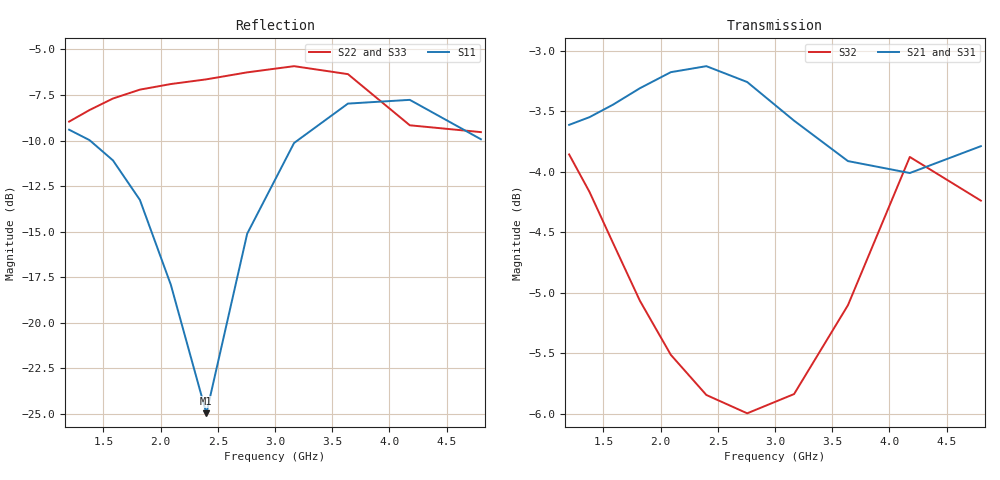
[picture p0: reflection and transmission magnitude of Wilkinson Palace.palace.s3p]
! Generated by circuitRF - EM: Palace
! circuitRF-EM setup: Wilkinson Palace
! circuitRF-EM layout: Wilkinson.c3d
! circuitRF-EM written: 2026-11-15 21:44:44Z
! circuitRF-EM stamp: 20261115T214444Z-f19fa5af
! circuitRF-EM geometry: d3dc385797ce25ec
! circuitRF-EM mesh settings: a7694d155dadb9d5
! circuitRF-EM ports: f234bb7d2ddfce0d
! circuitRF-EM model: Palace 0.18.1 (0dc74cd, schema 1-7-0)
! Port[1] = P1
! Port[2] = P2
! Port[3] = P3
! circuitRF-EM port 1: 'port/1' from 'U1/Bottom Copper (1 oz)/1' to 'U1/Top Copper (1 oz)/1', lumped, 50 Ohm
! circuitRF-EM port 2: 'port/2' from 'U1/Bottom Copper (1 oz)/1' to 'U1/Top Copper (1 oz)/1', lumped, 50 Ohm
! circuitRF-EM port 3: 'port/3' from 'U1/Bottom Copper (1 oz)/1' to 'U1/Top Copper (1 oz)/1', lumped, 50 Ohm
! Port 1 = P01  P1  net=?  ref=U1/Bottom Copper (1 oz)/1  uncalibrated
! Port 2 = P02  P2  net=?  ref=U1/Bottom Copper (1 oz)/1  uncalibrated
! Port 3 = P03  P3  net=?  ref=U1/Bottom Copper (1 oz)/1  uncalibrated
! DC: none, the lowest row is 1.2 GHz; a circuit's DC solve through this file takes that row as DC
! circuitRF-EM 3D mesh: 54,807 elements initially, 54,807 finally, 0 adaptive pass(es), element order 1
! circuitRF-EM 3D operating temperature: 20 C
! circuitRF-EM 3D run: preset Draft; 54807 -> 54807 tetrahedra; 72034 unknowns; 0 refinement pass(es); 4 frequency sample(s)
! circuitRF-EM 3D run cost: wall 77 s; Palace peak memory 2.0 GB
! circuitRF-EM: re-running the EM setup rewrites this file. If circuitRF reports it as stale, the layout's cross-section changed after this file was written.
# GHz S RI R 50
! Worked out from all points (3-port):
!   11 points, 1.2 GHz to 4.8 GHz, reference 50 ohm
!   strongest paths, dB at 1.2 GHz, 1.583 GHz, 2.4 GHz, 3.638 GHz, 4.8 GHz:
!     S21: -3.6, -3.4, -3.1, -3.9, -3.8
!     S31: -3.6, -3.5, -3.2, -4.0, -3.7
!     S32: -3.9, -4.6, -5.8, -5.1, -4.2
!   lowest |S11| = -25.0 dB at 2.4 GHz (marker M1), VSWR 1.12, Z = 44.9 + j1.74 ohm
!   |S11| at or under -10 dB: 1.383 GHz to 3.196 GHz (1.813 GHz wide, 79.2 % of centre)
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1.2  -0.2622 0.2144  -0.0373 -0.6586  -0.0389 -0.6565
     -0.0373 -0.6586  0.348 -0.0769  -0.6325 -0.1062
     -0.0389 -0.6565  -0.6325 -0.1062  0.3515 -0.0782
1.583409  -0.1449 0.2383  -0.3658 -0.5643  -0.365 -0.5605
          -0.3658 -0.5643  0.1322 -0.3907  -0.4092 0.4245
          -0.365 -0.5605  -0.4092 0.4245  0.1351 -0.396
1.81886  -0.0732 0.2046  -0.5363 -0.4231  -0.5332 -0.4196
         -0.5363 -0.4231  -0.0727 -0.4302  -0.1111 0.5468
         -0.5332 -0.4196  -0.1111 0.5468  -0.0722 -0.4376
2.089321  -0.0266 0.1243  -0.6664 -0.1922  -0.661 -0.1908
          -0.6664 -0.1922  -0.2651 -0.366  0.2169 0.4836
          -0.661 -0.1908  0.2169 0.4836  -0.2687 -0.3741
2.4  -0.053 0.0193  -0.687 0.1209  -0.6808 0.1184
     -0.687 0.1209  -0.4056 -0.2285  0.4554 0.2299
     -0.6808 0.1184  0.4554 0.2299  -0.4136 -0.2345
2.756876  -0.173 -0.03  -0.5269 0.4411  -0.5231 0.434
          -0.5269 0.4411  -0.4855 -0.0317  0.482 -0.138
          -0.5231 0.434  0.482 -0.138  -0.4961 -0.033
3.166819  -0.3046 0.0648  -0.1913 0.6341  -0.1941 0.6246
          -0.1913 0.6341  -0.4463 0.2384  0.2307 -0.4555
          -0.1941 0.6246  0.2307 -0.4555  -0.4564 0.2426
3.63772  -0.2952 0.2691  0.2132 0.6006  0.2013 0.596
         0.2132 0.6006  -0.1324 0.4626  -0.2606 -0.4907
         0.2013 0.596  -0.2606 -0.4907  -0.1401 0.4719
4.178643  -0.0847 0.4001  0.547 0.3129  0.5353 0.3253
          0.547 0.3129  0.3186 0.1406  -0.629 0.117
          0.5353 0.3253  -0.629 0.117  0.319 0.1571
4.8  0.1586 0.2766  0.6151 -0.1987  0.6275 -0.1863
     0.6151 -0.1987  -0.2122 -0.2573  0.2181 0.5737
     0.6275 -0.1863  0.2181 0.5737  -0.1933 -0.2526
